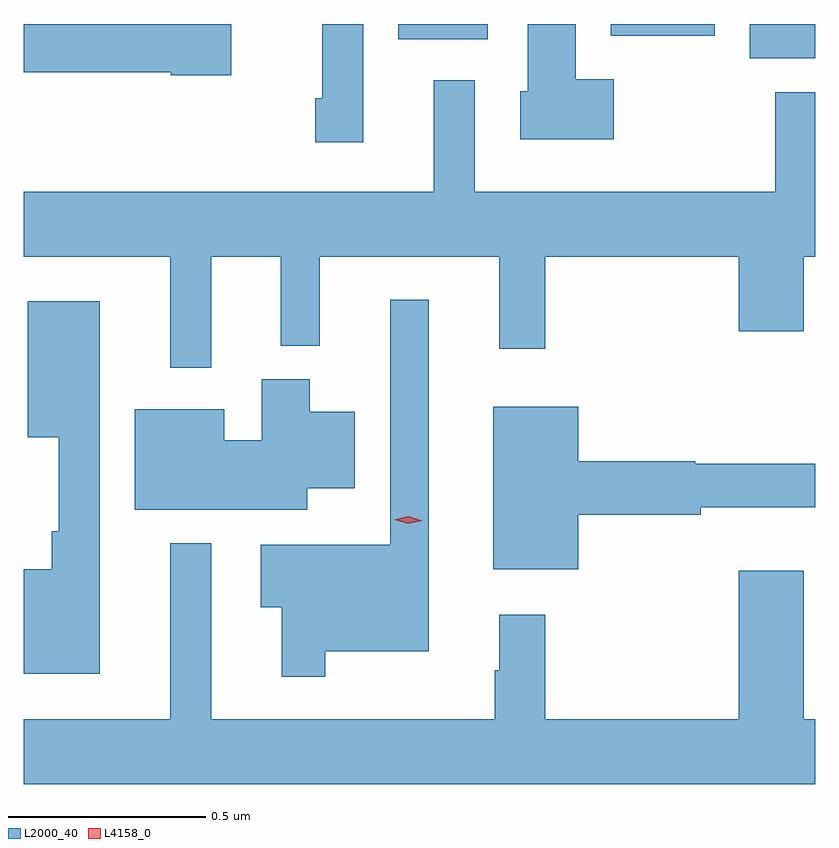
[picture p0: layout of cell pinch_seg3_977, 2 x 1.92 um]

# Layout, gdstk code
import gdstk
lib = gdstk.Library(unit=1e-6, precision=1e-09)
def R(c, l, rs):  # rectangles x0, y0, x1, y1
    for r in rs: c.add(gdstk.rectangle(r[:2], r[2:], *l))
def P(c, l, *ps):  # polygons
    for p in ps: c.add(gdstk.Polygon(p, *l))
L2000_40 = (2000, 40)
L4158_0 = (4158, 0)

pinch_seg3_977 = lib.new_cell('pinch_seg3_977')
R(pinch_seg3_977, L2000_40, [(404.795,740.045,404.961,740.132), (403.907,740.093,404.134,740.132), (404.444,740.102,404.707,740.132)])
P(pinch_seg3_977, L2000_40, [(403.819,740.132),(403.715,740.132),(403.715,739.945),(403.698,739.945),(403.698,739.833),(403.819,739.833)],
  [(404.452,739.993),(404.356,739.993),(404.356,740.132),(404.234,740.132),(404.234,739.962),(404.216,739.962),(404.216,739.841),(404.452,739.841)],
  [(403.486,740.132),(402.961,740.132),(402.961,740.01),(403.332,740.01),(403.332,740.002),(403.486,740.002)],
  [(403.435,739.544),(403.61,739.544),(403.61,739.319),(403.709,739.319),(403.709,739.544),(404.162,739.544),(404.162,739.311),(404.279,739.311),(404.279,739.544),(404.768,739.544),(404.768,739.356),(404.932,739.356),(404.932,739.544),(404.961,739.544),(404.961,739.96),(404.86,739.96),(404.86,739.708),(404.101,739.708),(404.101,739.99),(403.997,739.99),(403.997,739.708),(402.961,739.708),(402.961,739.544),(403.331,739.544),(403.331,739.263),(403.435,739.263)],
  [(403.723,738.548),(403.984,738.548),(403.984,739.435),(403.887,739.435),(403.887,738.817),(403.56,738.817),(403.56,738.659),(403.613,738.659),(403.613,738.483),(403.723,738.483)],
  [(403.153,739.432),(402.971,739.432),(402.971,739.088),(403.049,739.088),(403.049,738.85),(403.032,738.85),(403.032,738.754),(402.961,738.754),(402.961,738.491),(403.153,738.491)],
  [(403.678,738.959),(403.798,738.959),(403.798,739.153),(403.684,739.153),(403.684,739.234),(403.562,739.234),(403.562,739.081),(403.468,739.081),(403.468,739.159),(403.241,739.159),(403.241,738.905),(403.678,738.905)],
  [(404.362,738.892),(404.672,738.892),(404.672,738.911),(404.961,738.911),(404.961,739.021),(404.658,739.021),(404.658,739.028),(404.362,739.028),(404.362,739.165),(404.147,739.165),(404.147,738.755),(404.362,738.755)],
  [(404.961,738.376),(404.932,738.376),(404.932,738.751),(404.768,738.751),(404.768,738.376),(404.279,738.376),(404.279,738.64),(404.162,738.64),(404.162,738.5),(404.151,738.5),(404.151,738.376),(403.435,738.376),(403.435,738.82),(403.331,738.82),(403.331,738.376),(402.961,738.376),(402.961,738.212),(404.961,738.212)])
P(pinch_seg3_977, L4158_0, [(403.932,738.869),(403.897,738.88),(403.897,738.88),(403.897,738.88),(403.933,738.888),(403.968,738.877),(403.968,738.877),(403.968,738.877)])

lib.write_gds('pinch_seg3_977.gds')
